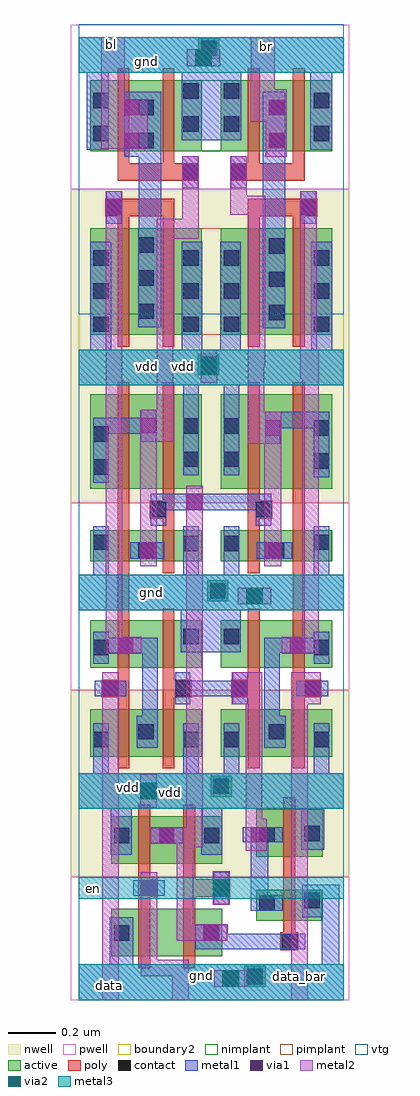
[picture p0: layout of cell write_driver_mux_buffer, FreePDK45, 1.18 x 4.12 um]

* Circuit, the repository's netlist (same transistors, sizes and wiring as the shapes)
************************************************************************
* auCdl Netlist:
* 
* Library Name:  openram
* Top Cell Name: write_driver_mux_buffer
* View Name:     schematic
* Netlisted on:  Apr 23 18:37:05 2021
************************************************************************

*.EQUATION
*.SCALE METER
*.MEGA
.PARAM



************************************************************************
* Library Name: openram
* Cell Name:    write_driver_mux_logic
* View Name:    schematic
************************************************************************

.SUBCKT write_driver_mux_logic bl_n bl_p br_n br_p data data_bar en gnd mask 
+ vdd
MM19 bl_n data gnd gnd NMOS_VTG W=130.0n L=50n m=1
MM14 br_n mask_en_bar gnd gnd NMOS_VTG W=130.0n L=50n m=1
MM15 bl_n mask_en_bar gnd gnd NMOS_VTG W=130.0n L=50n m=1
MM16 br_n data_bar gnd gnd NMOS_VTG W=130.0n L=50n m=1
MM1 net057 mask gnd gnd NMOS_VTG W=200n L=50n m=1
MM2 mask_en_bar en net057 gnd NMOS_VTG W=200n L=50n m=1
MM4 mask_en mask_en_bar gnd gnd NMOS_VTG W=130.0n L=50n m=1
MM11 br_p data_bar net055 gnd NMOS_VTG W=200n L=50n m=1
MM10 net055 mask_en gnd gnd NMOS_VTG W=200n L=50n m=1
MM8 net056 mask_en gnd gnd NMOS_VTG W=200n L=50n m=1
MM9 bl_p data net056 gnd NMOS_VTG W=200n L=50n m=1
MM6 bl_p data vdd vdd PMOS_VTG W=200n L=50n m=1
MM12 bl_p mask_en vdd vdd PMOS_VTG W=200n L=50n m=1
MM5 mask_en mask_en_bar vdd vdd PMOS_VTG W=200n L=50n m=1
MM3 mask_en_bar mask vdd vdd PMOS_VTG W=200n L=50n m=1
MM0 mask_en_bar en vdd vdd PMOS_VTG W=200n L=50n m=1
MM7 br_p data_bar vdd vdd PMOS_VTG W=200n L=50n m=1
MM13 br_p mask_en vdd vdd PMOS_VTG W=200n L=50n m=1
MM21 net054 mask_en_bar vdd vdd PMOS_VTG W=400n L=50n m=1
MM20 bl_n data net054 vdd PMOS_VTG W=400n L=50n m=1
MM18 net053 mask_en_bar vdd vdd PMOS_VTG W=400n L=50n m=1
MM17 br_n data_bar net053 vdd PMOS_VTG W=400n L=50n m=1
.ENDS

************************************************************************
* Library Name: openram
* Cell Name:    write_driver_mux_buffer
* View Name:    schematic
************************************************************************

.SUBCKT write_driver_mux_buffer bl br data data_bar en gnd mask vdd
MM0 br br_n gnd gnd NMOS_VTG W=600n L=50n m=1
MM3 bl bl_n gnd gnd NMOS_VTG W=600n L=50n m=1
MM1 br br_p vdd vdd PMOS_VTG W=900n L=50n m=1
MM2 bl bl_p vdd vdd PMOS_VTG W=900n L=50n m=1
XI0 bl_n bl_p br_n br_p data data_bar en gnd mask vdd / write_driver_mux_logic
.ENDS

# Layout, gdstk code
from math import pi, radians
import gdstk
lib = gdstk.Library(unit=1e-6, precision=5e-10)
def R(c, l, rs):  # rectangles x0, y0, x1, y1
    for r in rs: c.add(gdstk.rectangle(r[:2], r[2:], *l))
def A(c, l, x, y, w, h, nx, ny, dx, dy):  # array of equal rectangles
    R(c, l, [(x+i*dx, y+j*dy, x+i*dx+w, y+j*dy+h) for i in range(nx) for j in range(ny)])
active = (1, 0)
pwell = (2, 0)
nwell = (3, 0)
nimplant = (4, 0)
pimplant = (5, 0)
vtg = (6, 0)
poly = (9, 0)
contact = (10, 0)
metal1 = (11, 0)
via1 = (12, 0)
metal2 = (13, 0)
via2 = (14, 0)
metal3 = (15, 0)
boundary2 = (239, 0)

m1_poly_cdns_61921813801 = lib.new_cell('M1_POLY_CDNS_619218138013')
R(m1_poly_cdns_61921813801, poly, [(-0.0375,-0.0375,0.0375,0.0375)])
R(m1_poly_cdns_61921813801, contact, [(-0.0325,-0.0325,0.0325,0.0325)])
R(m1_poly_cdns_61921813801, metal1, [(-0.0325,-0.0675,0.0325,0.0675)])

m2_m1_cdns_619218138018 = lib.new_cell('M2_M1_CDNS_619218138018')
R(m2_m1_cdns_619218138018, metal1, [(-0.0325,-0.0675,0.0325,0.0675)])
R(m2_m1_cdns_619218138018, via1, [(-0.0325,-0.0325,0.0325,0.0325)])
R(m2_m1_cdns_619218138018, metal2, [(-0.0675,-0.035,0.0675,0.035)])

m3_m2_cdns_619218138019 = lib.new_cell('M3_M2_CDNS_619218138019')
R(m3_m2_cdns_619218138019, metal2, [(-0.035,-0.07,0.035,0.07)])
R(m3_m2_cdns_619218138019, via2, [(-0.035,-0.035,0.035,0.035)])
R(m3_m2_cdns_619218138019, metal3, [(-0.07,-0.035,0.07,0.035)])

m3_m2_cdns_619218138010 = lib.new_cell('M3_M2_CDNS_619218138010')
R(m3_m2_cdns_619218138010, metal2, [(-0.035,-0.07,0.035,0.07)])
R(m3_m2_cdns_619218138010, via2, [(-0.035,-0.035,0.035,0.035)])
R(m3_m2_cdns_619218138010, metal3, [(-0.035,-0.07,0.035,0.07)])

c_m1_poly_cdns_61921813801 = lib.new_cell('M1_POLY_CDNS_6192181380110')
R(c_m1_poly_cdns_61921813801, poly, [(-0.0375,-0.0375,0.0375,0.0375)])
R(c_m1_poly_cdns_61921813801, contact, [(-0.0325,-0.0325,0.0325,0.0325)])
R(c_m1_poly_cdns_61921813801, metal1, [(-0.0675,-0.0325,0.0675,0.0325)])

m2_m1_cdns_619218138011 = lib.new_cell('M2_M1_CDNS_619218138011')
R(m2_m1_cdns_619218138011, metal1, [(-0.0325,-0.0675,0.0325,0.0675)])
R(m2_m1_cdns_619218138011, via1, [(-0.0325,-0.0325,0.0325,0.0325)])
R(m2_m1_cdns_619218138011, metal2, [(-0.035,-0.0675,0.035,0.0675)])

m1_p_cdns_6192181380111 = lib.new_cell('M1_P_CDNS_6192181380111')
R(m1_p_cdns_6192181380111, active, [(-0.045,-0.1075,0.045,0.1075)])
R(m1_p_cdns_6192181380111, pimplant, [(-0.045,-0.1075,0.045,0.1075)])
R(m1_p_cdns_6192181380111, contact, [(-0.0325,-0.1025,0.0325,-0.0375), (-0.0325,0.0375,0.0325,0.1025)])
R(m1_p_cdns_6192181380111, metal1, [(-0.0325,-0.1375,0.0325,0.1375)])

ptap_cdns_619218138015 = lib.new_cell('PTAP_CDNS_619218138015')
R(ptap_cdns_619218138015, active, [(-0.045,-0.045,0.045,0.045)])
R(ptap_cdns_619218138015, pwell, [(-0.1,-0.1,0.1,0.1)])
R(ptap_cdns_619218138015, pimplant, [(-0.045,-0.045,0.045,0.045)])
R(ptap_cdns_619218138015, contact, [(-0.0325,-0.0325,0.0325,0.0325)])
R(ptap_cdns_619218138015, metal1, [(-0.0325,-0.0675,0.0325,0.0675)])

ntap_cdns_6192181380112 = lib.new_cell('NTAP_CDNS_6192181380112')
R(ntap_cdns_6192181380112, active, [(-0.045,-0.045,0.045,0.045)])
R(ntap_cdns_6192181380112, nwell, [(-0.1,-0.1,0.1,0.1)])
R(ntap_cdns_6192181380112, nimplant, [(-0.045,-0.045,0.045,0.045)])
R(ntap_cdns_6192181380112, contact, [(-0.0325,-0.0325,0.0325,0.0325)])
R(ntap_cdns_6192181380112, metal1, [(-0.0325,-0.0675,0.0325,0.0675)])

m2_m1_cdns_6192181380113 = lib.new_cell('M2_M1_CDNS_6192181380113')
R(m2_m1_cdns_6192181380113, metal1, [(-0.0675,-0.0325,0.0675,0.0325)])
R(m2_m1_cdns_6192181380113, via1, [(-0.0325,-0.0325,0.0325,0.0325)])
R(m2_m1_cdns_6192181380113, metal2, [(-0.0675,-0.035,0.0675,0.035)])

write_driver_mux_logic = lib.new_cell('write_driver_mux_logic')
R(write_driver_mux_logic, active, [(0.1375,0.185,0.6075,0.385), (0.75,0.335,1.03,0.465), (0.1375,0.575,0.6075,0.775), (0.75,0.605,1.03,0.805), (0.05,1.0275,0.52,1.2275), (0.6,1.0275,1.07,1.2275), (0.05,1.4025,0.52,1.6025), (0.6,1.4025,1.07,1.6025), (0.05,1.8525,0.52,1.9825), (0.6,1.8525,1.07,1.9825), (0.05,2.1575,0.52,2.5575), (0.6,2.1575,1.07,2.5575)])
R(write_driver_mux_logic, pwell, [(-0.0325,0,1.1425,0.52), (-0.0325,1.3075,1.1425,2.1)])
R(write_driver_mux_logic, nwell, [(-0.0325,0.52,1.1425,1.3075), (-0.0325,2.1,1.1425,2.7825)])
R(write_driver_mux_logic, nimplant, [(0.1375,0.185,0.6075,0.385), (0.75,0.335,1.0275,0.465), (0.05,1.4025,0.52,1.6025), (0.6,1.4025,1.07,1.6025), (0.05,1.8525,0.52,1.9825), (0.6,1.8525,1.0675,1.9825)])
R(write_driver_mux_logic, pimplant, [(0.1375,0.575,0.6075,0.775), (0.75,0.605,1.03,0.805), (0.05,1.0275,0.52,1.2275), (0.6,1.0275,1.07,1.2275), (0.05,2.1575,0.52,2.5575), (0.6,2.1575,1.07,2.5575)])
R(write_driver_mux_logic, vtg, [(0,0,1.12,2.745)])
R(write_driver_mux_logic, poly, [(0.2525,0.135,0.3025,0.825), (0.4425,0.135,0.4925,0.825), (0.865,0.235,0.915,0.855), (0.4525,0.435,0.5875,0.51), (0.165,0.9775,0.215,1.865), (0.355,0.9775,0.405,1.6525), (0.715,0.9775,0.765,1.6525), (0.905,0.9775,0.955,1.87), (0.165,1.8025,0.215,2.6075), (0.355,1.8025,0.405,2.6075), (0.715,1.8025,0.765,2.6075), (0.905,1.8025,0.955,2.6075)])
A(write_driver_mux_logic, contact, 0.15, 0.6625, 0.065, 0.065, 3, 1, 0.19, 0)
R(write_driver_mux_logic, contact, [(0.15,0.25,0.215,0.315), (0.53,0.2525,0.595,0.3175), (0.7625,0.3775,0.8275,0.4425), (0.9525,0.3875,1.0175,0.4525), (0.7625,0.665,0.8275,0.73), (0.9525,0.67,1.0175,0.735), (0.0625,1.0675,0.1275,1.1325), (0.4425,1.0675,0.5075,1.1325), (0.6125,1.0675,0.6775,1.1325), (0.9925,1.0675,1.0575,1.1325), (0.2525,1.1,0.3175,1.165), (0.8025,1.1,0.8675,1.165), (0.0625,1.455,0.1275,1.52), (0.9925,1.455,1.0575,1.52), (0.4425,1.5025,0.5075,1.5675), (0.6125,1.5025,0.6775,1.5675), (0.2525,1.865,0.3175,1.93), (0.8025,1.865,0.8675,1.93), (0.4425,1.895,0.5075,1.96), (0.6125,1.895,0.6775,1.96), (0.0625,1.9,0.1275,1.965), (0.9925,1.9,1.0575,1.965)])
R(write_driver_mux_logic, metal1, [(0,0,1.12,0.15), (0.1325,0.0375,0.23,0.35), (1.0275,0.1125,1.1,0.4875), (0.15,0.215,0.215,0.35), (0.4925,0.215,0.9225,0.28), (0.495,0.2525,0.63,0.3175), (0.945,0.35,1.0375,0.4875), (0.7275,0.3775,0.8,0.7275), (0.7275,0.3775,0.8625,0.4425), (0.135,0.6125,0.225,0.8675), (0.5175,0.6125,0.6075,0.8675), (0.94,0.635,1.0375,0.8225), (0.7275,0.665,0.8625,0.73), (0,0.8075,1.12,0.9575), (0.0625,0.8875,0.1275,1.1675), (0.4425,0.905,0.5075,1.1675), (0.6125,0.905,0.6775,1.1675), (0.9925,0.905,1.0575,1.1675), (0.6125,1.0325,0.6775,1.1675), (0.9925,1.0325,1.0575,1.1675), (0.245,1.065,0.335,1.2), (0.27,1.065,0.335,1.53), (0.785,1.065,0.875,1.2), (0.785,1.065,0.85,1.53), (0.4175,1.2825,0.7125,1.3475), (0.0625,1.42,0.1275,1.555), (0.9925,1.42,1.0575,1.555), (0.0625,1.465,0.3175,1.53), (0.8025,1.465,1.0575,1.53), (0.4325,1.4675,0.685,1.7125), (0,1.645,1.12,1.795), (0.9925,1.715,1.0575,2), (0.0625,1.7175,0.1275,2), (0.4425,1.725,0.5075,2), (0.6125,1.7375,0.6775,2), (0.2175,1.8625,0.3625,1.9325), (0.7525,1.8625,0.9025,1.9325), (0.305,2.0675,0.8125,2.1375), (0.4425,2.3675,0.5075,2.67), (0.6125,2.3675,0.6775,2.67), (0.0625,2.39,0.33,2.4575), (0.7875,2.4125,1.055,2.4825), (0,2.595,1.12,2.745)])
R(write_driver_mux_logic, metal2, [(0.1,0,0.17,1.33), (0.395,0,0.465,0.17), (0.8975,0,0.9675,1.3825), (0.2625,0.1,0.465,0.17), (0.2625,0.15,0.3325,0.54), (0.415,0.25,0.6275,0.32), (0.415,0.25,0.485,0.715), (0.705,0.63,0.775,1.3825), (0.455,0.645,0.525,2.115), (0.33,0.66,0.485,0.73), (0.115,1.4625,0.185,2.745), (0.945,1.4625,1.015,2.745), (0.785,1.83,0.855,2.4825), (0.26,1.8425,0.33,2.4825), (0.715,2.3475,0.785,2.745), (0.33,2.3575,0.4,2.745)])
R(write_driver_mux_logic, metal3, [(0,0,1.12,0.15), (0,0.4275,1.12,0.5175), (0,0.8075,1.12,0.9575), (0,1.645,1.12,1.795), (0,2.595,1.12,2.745)])
R(write_driver_mux_logic, boundary2, [(0,0,1.12,2.745)])
write_driver_mux_logic.add(gdstk.Reference(m1_poly_cdns_61921813801, (0.78,2.07)))
write_driver_mux_logic.add(gdstk.Reference(m1_poly_cdns_61921813801, (0.3375,2.07)))
write_driver_mux_logic.add(gdstk.Reference(m1_poly_cdns_61921813801, (0.9875,1.315), rotation=3*pi/2))
write_driver_mux_logic.add(gdstk.Reference(m1_poly_cdns_61921813801, (0.44,1.315)))
write_driver_mux_logic.add(gdstk.Reference(m1_poly_cdns_61921813801, (0.6825,1.315)))
write_driver_mux_logic.add(gdstk.Reference(m1_poly_cdns_61921813801, (0.135,1.315), rotation=3*pi/2))
write_driver_mux_logic.add(gdstk.Reference(m1_poly_cdns_61921813801, (0.89,0.2475), rotation=pi/2))
write_driver_mux_logic.add(gdstk.Reference(m1_poly_cdns_61921813801, (0.2975,0.4725), rotation=pi/2))
write_driver_mux_logic.add(gdstk.Reference(m2_m1_cdns_619218138018, (0.82,1.8975), rotation=pi/2))
write_driver_mux_logic.add(gdstk.Reference(m2_m1_cdns_619218138018, (0.295,1.8975), rotation=pi/2))
write_driver_mux_logic.add(gdstk.Reference(m2_m1_cdns_619218138018, (0.49,2.1025), rotation=pi/2))
write_driver_mux_logic.add(gdstk.Reference(m2_m1_cdns_619218138018, (0.9875,1.315), rotation=3*pi/2))
write_driver_mux_logic.add(gdstk.Reference(m2_m1_cdns_619218138018, (0.135,1.315), rotation=3*pi/2))
write_driver_mux_logic.add(gdstk.Reference(m2_m1_cdns_619218138018, (0.76,0.6975), rotation=pi/2))
write_driver_mux_logic.add(gdstk.Reference(m2_m1_cdns_619218138018, (0.2975,0.4725), rotation=pi/2))
write_driver_mux_logic.add(gdstk.Reference(m3_m2_cdns_619218138019, (0.6025,0.4725)))
write_driver_mux_logic.add(gdstk.Reference(m3_m2_cdns_619218138010, (0.55,2.675)))
write_driver_mux_logic.add(gdstk.Reference(m3_m2_cdns_619218138010, (0.7425,1.705), rotation=3*pi/2))
write_driver_mux_logic.add(gdstk.Reference(m3_m2_cdns_619218138010, (0.295,0.8825)))
write_driver_mux_logic.add(gdstk.Reference(m3_m2_cdns_619218138010, (0.6425,0.09), rotation=pi/2))
write_driver_mux_logic.add(gdstk.Reference(c_m1_poly_cdns_61921813801, (0.6025,0.4725), rotation=pi/2))
write_driver_mux_logic.add(gdstk.Reference(m2_m1_cdns_619218138011, (0.55,2.675)))
write_driver_mux_logic.add(gdstk.Reference(m2_m1_cdns_619218138011, (0.7425,1.705), rotation=3*pi/2))
write_driver_mux_logic.add(gdstk.Reference(m2_m1_cdns_619218138011, (0.925,1.4975), rotation=pi/2))
write_driver_mux_logic.add(gdstk.Reference(m2_m1_cdns_619218138011, (0.1975,1.4975), rotation=pi/2))
write_driver_mux_logic.add(gdstk.Reference(m2_m1_cdns_619218138011, (0.295,0.8825)))
write_driver_mux_logic.add(gdstk.Reference(m2_m1_cdns_619218138011, (0.6825,1.315)))
write_driver_mux_logic.add(gdstk.Reference(m2_m1_cdns_619218138011, (0.6425,0.09), rotation=pi/2))
write_driver_mux_logic.add(gdstk.Reference(m2_m1_cdns_619218138011, (0.3725,0.695), rotation=pi/2))
write_driver_mux_logic.add(gdstk.Reference(m2_m1_cdns_619218138011, (0.56,0.285), rotation=pi/2))
write_driver_mux_logic.add(gdstk.Reference(m2_m1_cdns_619218138011, (0.6025,0.4725)))
write_driver_mux_logic.add(gdstk.Reference(m1_p_cdns_6192181380111, (0.645,2.3525)))
write_driver_mux_logic.add(gdstk.Reference(m1_p_cdns_6192181380111, (0.475,2.3525)))
write_driver_mux_logic.add(gdstk.Reference(m1_p_cdns_6192181380111, (1.025,2.345)))
write_driver_mux_logic.add(gdstk.Reference(m1_p_cdns_6192181380111, (0.095,2.32)))
write_driver_mux_logic.add(gdstk.Reference(ptap_cdns_619218138015, (0.5875,1.7275)))
write_driver_mux_logic.add(gdstk.Reference(ptap_cdns_619218138015, (0.745,0.1), rotation=pi/2))
write_driver_mux_logic.add(gdstk.Reference(ntap_cdns_6192181380112, (0.5475,2.6825), rotation=pi/2))
write_driver_mux_logic.add(gdstk.Reference(ntap_cdns_6192181380112, (0.6025,0.9025), rotation=pi/2))
write_driver_mux_logic.add(gdstk.Reference(m2_m1_cdns_6192181380113, (0.82,2.415), rotation=pi/2))
write_driver_mux_logic.add(gdstk.Reference(m2_m1_cdns_6192181380113, (0.295,2.425), rotation=pi/2))
write_driver_mux_logic.add(gdstk.Label('vdd', (0.21,0.8975), layer=11, texttype=0))
write_driver_mux_logic.add(gdstk.Label('vdd', (0.29,2.6725), layer=11, texttype=0))
write_driver_mux_logic.add(gdstk.Label('gnd', (0.2375,1.72), layer=11, texttype=0))
write_driver_mux_logic.add(gdstk.Label('gnd', (0.475,0.07), layer=11, texttype=0))
write_driver_mux_logic.add(gdstk.Label('br_p', (0.975,2.6825), layer=13, texttype=0))
write_driver_mux_logic.add(gdstk.Label('br_n', (0.75,2.675), layer=13, texttype=0))
write_driver_mux_logic.add(gdstk.Label('bl_n', (0.365,2.6825), layer=13, texttype=0))
write_driver_mux_logic.add(gdstk.Label('bl_p', (0.1475,2.6875), layer=13, texttype=0))
write_driver_mux_logic.add(gdstk.Label('data_bar', (0.9325,0.0975), layer=13, texttype=0))
write_driver_mux_logic.add(gdstk.Label('mask', (0.43,0.0475), layer=13, texttype=0))
write_driver_mux_logic.add(gdstk.Label('data', (0.13,0.0625), layer=13, texttype=0))
write_driver_mux_logic.add(gdstk.Label('en', (0.065,0.4725), layer=15, texttype=0))
write_driver_mux_logic.add(gdstk.Label('gnd', (0.31,1.72), layer=15, texttype=0))
write_driver_mux_logic.add(gdstk.Label('vdd', (0.4425,2.6725), layer=15, texttype=0))
write_driver_mux_logic.add(gdstk.Label('vdd', (0.39,0.8775), layer=15, texttype=0))
write_driver_mux_logic.add(gdstk.Label('gnd', (0.5175,0.105), layer=15, texttype=0))

m1_p_cdns_619218138012 = lib.new_cell('M1_P_CDNS_619218138012')
R(m1_p_cdns_619218138012, active, [(-0.045,-0.1775,0.045,0.1775)])
R(m1_p_cdns_619218138012, pimplant, [(-0.045,-0.1775,0.045,0.1775)])
A(m1_p_cdns_619218138012, contact, -0.0325, -0.1725, 0.065, 0.065, 1, 3, 0, 0.14)
R(m1_p_cdns_619218138012, metal1, [(-0.0325,-0.2075,0.0325,0.2075)])

m2_m1_cdns_619218138014 = lib.new_cell('M2_M1_CDNS_619218138014')
R(m2_m1_cdns_619218138014, metal1, [(-0.0325,-0.1375,0.0325,0.1375)])
R(m2_m1_cdns_619218138014, via1, [(-0.0325,-0.1025,0.0325,-0.0375), (-0.0325,0.0375,0.0325,0.1025)])
R(m2_m1_cdns_619218138014, metal2, [(-0.0675,-0.105,0.0675,0.105)])

m2_m1_cdns_619218138016 = lib.new_cell('M2_M1_CDNS_619218138016')
R(m2_m1_cdns_619218138016, metal1, [(-0.0325,-0.1375,0.0325,0.1375)])
R(m2_m1_cdns_619218138016, via1, [(-0.0325,-0.1025,0.0325,-0.0375), (-0.0325,0.0375,0.0325,0.1025)])
R(m2_m1_cdns_619218138016, metal2, [(-0.035,-0.1375,0.035,0.1375)])

m1_n_cdns_619218138017 = lib.new_cell('M1_N_CDNS_619218138017')
R(m1_n_cdns_619218138017, active, [(-0.045,-0.115,0.045,0.115)])
R(m1_n_cdns_619218138017, nimplant, [(-0.045,-0.115,0.045,0.115)])
R(m1_n_cdns_619218138017, contact, [(-0.0325,-0.1025,0.0325,-0.0375), (-0.0325,0.0375,0.0325,0.1025)])
R(m1_n_cdns_619218138017, metal1, [(-0.0325,-0.1375,0.0325,0.1375)])

write_driver_mux_buffer_ = lib.new_cell('write_driver_mux_buffer_0')
R(write_driver_mux_buffer_, active, [(0.05,2.8075,0.52,3.2575), (0.6,2.8075,1.07,3.2575), (0.05,3.5825,0.52,3.8825), (0.6,3.5825,1.07,3.8825)])
R(write_driver_mux_buffer_, pwell, [(-0.0325,3.4225,1.1425,4.1175)])
R(write_driver_mux_buffer_, nwell, [(-0.0325,2.7825,1.1425,3.4225)])
R(write_driver_mux_buffer_, nimplant, [(0.05,3.5825,1.07,3.8825)])
R(write_driver_mux_buffer_, pimplant, [(0.05,2.8075,1.07,3.2575)])
R(write_driver_mux_buffer_, vtg, [(0,2.895,1.12,4.12)])
R(write_driver_mux_buffer_, poly, [(0.165,2.7575,0.215,3.3825), (0.355,2.7575,0.405,3.3825), (0.715,2.7575,0.765,3.3825), (0.905,2.7575,0.955,3.3825), (0.165,3.3075,0.405,3.3825), (0.715,3.3075,0.955,3.3825), (0.165,3.4575,0.215,3.9325), (0.165,3.4575,0.465,3.5325), (0.355,3.4575,0.405,3.9325), (0.715,3.4575,0.955,3.5325), (0.715,3.4575,0.765,3.9325), (0.905,3.4575,0.955,3.9325)])
R(write_driver_mux_buffer_, metal1, [(0.05,2.69,0.1375,3.2), (0.435,2.69,0.5225,3.2), (0.5975,2.69,0.685,3.2), (0.9825,2.69,1.07,3.2), (0.7775,2.835,0.8725,3.835), (0.255,2.84,0.35,3.835), (0.035,3.59,0.1275,4.0075), (0.9775,3.59,1.07,4.0075), (0.435,3.63,0.6875,4.065), (0,3.915,1.12,4.065)])
R(write_driver_mux_buffer_, metal2, [(0.935,2.6225,1.005,3.36), (0.7175,2.675,0.7875,3.395), (0.33,2.7175,0.4,3.2975), (0.115,2.735,0.185,3.415), (0.33,3.2125,0.5075,3.2975), (0.4375,3.2525,0.5075,3.5625), (0.64,3.315,0.7875,3.395), (0.64,3.3525,0.71,3.56), (0.79,3.56,0.88,3.845), (0.1175,3.5925,0.22,3.8025)])
R(write_driver_mux_buffer_, metal3, [(0,3.915,1.12,4.065)])
R(write_driver_mux_buffer_, boundary2, [(0,0,1.12,4.065)])
write_driver_mux_buffer_.add(gdstk.Reference(write_driver_mux_logic, (0,0)))
write_driver_mux_buffer_.add(gdstk.Reference(m1_p_cdns_619218138012, (0.095,2.9925)))
write_driver_mux_buffer_.add(gdstk.Reference(m1_p_cdns_619218138012, (0.475,2.9925)))
write_driver_mux_buffer_.add(gdstk.Reference(m1_p_cdns_619218138012, (0.285,3.0475)))
write_driver_mux_buffer_.add(gdstk.Reference(m1_p_cdns_619218138012, (0.645,2.9925), rotation=pi, x_reflection=True))
write_driver_mux_buffer_.add(gdstk.Reference(m1_p_cdns_619218138012, (0.835,3.0425), rotation=pi, x_reflection=True))
write_driver_mux_buffer_.add(gdstk.Reference(m1_p_cdns_619218138012, (1.025,2.9925), rotation=pi, x_reflection=True))
write_driver_mux_buffer_.add(gdstk.Reference(m1_poly_cdns_61921813801, (0.15,3.345)))
write_driver_mux_buffer_.add(gdstk.Reference(m1_poly_cdns_61921813801, (0.97,3.345), rotation=pi, x_reflection=True))
write_driver_mux_buffer_.add(gdstk.Reference(m1_poly_cdns_61921813801, (0.47,3.495)))
write_driver_mux_buffer_.add(gdstk.Reference(m1_poly_cdns_61921813801, (0.6775,3.495), rotation=pi, x_reflection=True))
write_driver_mux_buffer_.add(gdstk.Reference(m2_m1_cdns_619218138014, (0.225,3.6975)))
write_driver_mux_buffer_.add(gdstk.Reference(m2_m1_cdns_619218138011, (0.15,3.3475)))
write_driver_mux_buffer_.add(gdstk.Reference(m2_m1_cdns_619218138011, (0.97,3.3475), rotation=pi, x_reflection=True))
write_driver_mux_buffer_.add(gdstk.Reference(m2_m1_cdns_619218138011, (0.4725,3.495)))
write_driver_mux_buffer_.add(gdstk.Reference(m2_m1_cdns_619218138011, (0.675,3.495), rotation=pi, x_reflection=True))
write_driver_mux_buffer_.add(gdstk.Reference(ptap_cdns_619218138015, (0.55,4.0175), rotation=pi/2))
write_driver_mux_buffer_.add(gdstk.Reference(m2_m1_cdns_619218138016, (0.835,3.6975)))
write_driver_mux_buffer_.add(gdstk.Reference(m1_n_cdns_619218138017, (0.475,3.7675)))
write_driver_mux_buffer_.add(gdstk.Reference(m1_n_cdns_619218138017, (0.095,3.7275)))
write_driver_mux_buffer_.add(gdstk.Reference(m1_n_cdns_619218138017, (0.285,3.6975)))
write_driver_mux_buffer_.add(gdstk.Reference(m1_n_cdns_619218138017, (0.835,3.6975), rotation=pi, x_reflection=True))
write_driver_mux_buffer_.add(gdstk.Reference(m1_n_cdns_619218138017, (1.025,3.7275), rotation=pi, x_reflection=True))
write_driver_mux_buffer_.add(gdstk.Reference(m1_n_cdns_619218138017, (0.645,3.7675), rotation=pi, x_reflection=True))
write_driver_mux_buffer_.add(gdstk.Label('gnd', (0.2875,3.96), layer=15, texttype=0))
write_driver_mux_buffer_.add(gdstk.Label('bl', (0.14,4.0325), layer=13, texttype=0))
write_driver_mux_buffer_.add(gdstk.Label('gnd', (0.295,3.9975), layer=11, texttype=0))

write_driver_mux_buffer = lib.new_cell('write_driver_mux_buffer')
R(write_driver_mux_buffer, metal1, [(0,0,1.12,0.15), (0,0.8075,1.12,0.9575), (0,2.595,1.12,2.745), (0,3.915,1.12,4.065)])
R(write_driver_mux_buffer, metal2, [(0.095,3.5925,0.195,4.065), (0.7275,3.7075,0.8275,4.065)])
R(write_driver_mux_buffer, metal3, [(0,0,1.12,0.15), (0,0.4275,1.12,0.5175), (0,0.8075,1.12,0.9575), (0,1.645,1.12,1.795), (0,2.595,1.12,2.745), (0,3.915,1.12,4.065)])
R(write_driver_mux_buffer, boundary2, [(0,0,1.12,4.065)])
write_driver_mux_buffer.add(gdstk.Reference(write_driver_mux_buffer_, (0,0)))
write_driver_mux_buffer.add(gdstk.Reference(m3_m2_cdns_619218138010, (0.5275,3.9775), rotation=pi/2))
write_driver_mux_buffer.add(gdstk.Reference(m2_m1_cdns_619218138011, (0.5275,3.9775), rotation=pi/2))
write_driver_mux_buffer.add(gdstk.Label('en', (0.065,0.4725), layer=15, texttype=0))
write_driver_mux_buffer.add(gdstk.Label('gnd', (0.5175,0.105), layer=15, texttype=0))
write_driver_mux_buffer.add(gdstk.Label('vdd', (0.39,0.8775), layer=15, texttype=0))
write_driver_mux_buffer.add(gdstk.Label('gnd', (0.31,1.72), layer=15, texttype=0))
write_driver_mux_buffer.add(gdstk.Label('vdd', (0.4425,2.6725), layer=15, texttype=0))
write_driver_mux_buffer.add(gdstk.Label('gnd', (0.2875,3.96), layer=15, texttype=0))
write_driver_mux_buffer.add(gdstk.Label('data_bar', (0.9325,0.0975), layer=13, texttype=0))
write_driver_mux_buffer.add(gdstk.Label('mask', (0.43,0.0475), layer=13, texttype=0))
write_driver_mux_buffer.add(gdstk.Label('data', (0.13,0.0625), layer=13, texttype=0))
write_driver_mux_buffer.add(gdstk.Label('br', (0.7925,4.025), layer=13, texttype=0))
write_driver_mux_buffer.add(gdstk.Label('bl', (0.14,4.0325), layer=13, texttype=0))
write_driver_mux_buffer.add(gdstk.Label('vdd', (0.29,2.6725), layer=11, texttype=0))
write_driver_mux_buffer.add(gdstk.Label('gnd', (0.475,0.07), layer=11, texttype=0))
write_driver_mux_buffer.add(gdstk.Label('vdd', (0.21,0.8975), layer=11, texttype=0))
write_driver_mux_buffer.add(gdstk.Label('gnd', (0.2375,1.72), layer=11, texttype=0))
write_driver_mux_buffer.add(gdstk.Label('gnd', (0.295,3.9975), layer=11, texttype=0))

lib.write_gds('write_driver_mux_buffer.gds')
